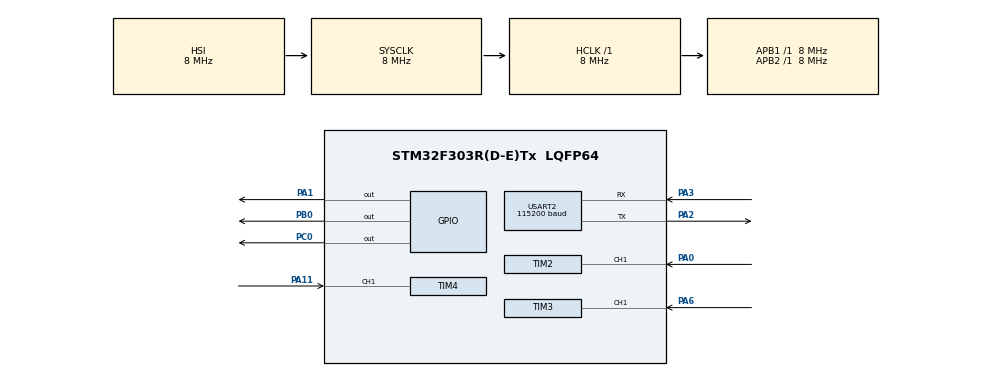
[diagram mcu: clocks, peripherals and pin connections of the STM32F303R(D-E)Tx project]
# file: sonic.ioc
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Mcu.Family=STM32F3
Mcu.Name=STM32F303R(D-E)Tx
Mcu.Package=LQFP64
NVIC.PriorityGroup=NVIC_PRIORITYGROUP_4
NVIC.TIM1_UP_TIM16_IRQn=true\:0\:0\:false\:false\:true\:true
NVIC.TIM2_IRQn=true\:0\:0\:false\:false\:true\:true
NVIC.TIM3_IRQn=true\:0\:0\:false\:false\:true\:true
NVIC.TIM4_IRQn=true\:0\:0\:false\:false\:true\:true
PA0.Signal=S_TIM2_CH1_ETR
PA1.Signal=GPIO_Output
PA11.Signal=S_TIM4_CH1
PA2.Mode=Asynchronous
PA2.Signal=USART2_TX
PA3.Mode=Asynchronous
PA3.Signal=USART2_RX
PA6.Signal=S_TIM3_CH1
PB0.Signal=GPIO_Output
PC0.Signal=GPIO_Output
ProjectManager.HeapSize=0x200
ProjectManager.StackSize=0x400
ProjectManager.TargetToolchain=TrueSTUDIO
RCC.AHBFreq_Value=8000000
RCC.APB1Freq_Value=8000000
RCC.APB2Freq_Value=8000000
RCC.CortexFreq_Value=8000000
RCC.HSE_VALUE=8000000
RCC.HSI_VALUE=8000000
RCC.LSE_VALUE=32768
RCC.SYSCLKFreq_VALUE=8000000
RCC.USBFreq_Value=16000000
SH.S_TIM2_CH1_ETR.0=TIM2_CH1,Input_Capture1_from_TI1
SH.S_TIM3_CH1.0=TIM3_CH1,Input_Capture1_from_TI1
SH.S_TIM4_CH1.0=TIM4_CH1,Input_Capture1_from_TI1
TIM1.Period=10
TIM1.Prescaler=7
TIM2.Channel-Input_Capture1_from_TI1=TIM_CHANNEL_1
TIM2.ICPolarity_CH1=TIM_INPUTCHANNELPOLARITY_BOTHEDGE
TIM2.Period=0xffffffff
TIM2.Prescaler=7
TIM3.Channel-Input_Capture1_from_TI1=TIM_CHANNEL_1
TIM3.ICPolarity_CH1=TIM_INPUTCHANNELPOLARITY_BOTHEDGE
TIM3.Period=0xffff
TIM3.Prescaler=7
TIM4.Channel-Input_Capture1_from_TI1=TIM_CHANNEL_1
TIM4.ICPolarity_CH1=TIM_INPUTCHANNELPOLARITY_BOTHEDGE
TIM4.Period=0xffff
TIM4.Prescaler=7
USART2.BaudRate=115200
USART2.VirtualMode-Asynchronous=VM_ASYNC
VP_TIM1_VS_ClockSourceINT.Mode=Internal
board=custom

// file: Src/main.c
/**
  ******************************************************************************
  * @file           : main.c
  * @brief          : Main program body
  ******************************************************************************
  ** This notice applies to any and all portions of this file
  * that are not between comment pairs USER CODE BEGIN and
  * USER CODE END. Other portions of this file, whether
  * inserted by the user or by software development tools
  * are owned by their respective copyright owners.
  *
  * COPYRIGHT(c) 2018 STMicroelectronics
  *
  * Redistribution and use in source and binary forms, with or without modification,
  * are permitted provided that the following conditions are met:
  *   1. Redistributions of source code must retain the above copyright notice,
  *      this list of conditions and the following disclaimer.
  *   2. Redistributions in binary form must reproduce the above copyright notice,
  *      this list of conditions and the following disclaimer in the documentation
  *      and/or other materials provided with the distribution.
  *   3. Neither the name of STMicroelectronics nor the names of its contributors
  *      may be used to endorse or promote products derived from this software
  *      without specific prior written permission.
  *
  * THIS SOFTWARE IS PROVIDED BY THE COPYRIGHT HOLDERS AND CONTRIBUTORS "AS IS"
  * AND ANY EXPRESS OR IMPLIED WARRANTIES, INCLUDING, BUT NOT LIMITED TO, THE
  * IMPLIED WARRANTIES OF MERCHANTABILITY AND FITNESS FOR A PARTICULAR PURPOSE ARE
  * DISCLAIMED. IN NO EVENT SHALL THE COPYRIGHT HOLDER OR CONTRIBUTORS BE LIABLE
  * FOR ANY DIRECT, INDIRECT, INCIDENTAL, SPECIAL, EXEMPLARY, OR CONSEQUENTIAL
  * DAMAGES (INCLUDING, BUT NOT LIMITED TO, PROCUREMENT OF SUBSTITUTE GOODS OR
  * SERVICES; LOSS OF USE, DATA, OR PROFITS; OR BUSINESS INTERRUPTION) HOWEVER
  * CAUSED AND ON ANY THEORY OF LIABILITY, WHETHER IN CONTRACT, STRICT LIABILITY,
  * OR TORT (INCLUDING NEGLIGENCE OR OTHERWISE) ARISING IN ANY WAY OUT OF THE USE
  * OF THIS SOFTWARE, EVEN IF ADVISED OF THE POSSIBILITY OF SUCH DAMAGE.
  *
  ******************************************************************************
  */
#include "main.h"
#include "stm32f3xx_hal.h"

TIM_HandleTypeDef htim1;
TIM_HandleTypeDef htim2;
TIM_HandleTypeDef htim3;
TIM_HandleTypeDef htim4;

UART_HandleTypeDef huart2;

/* USER CODE BEGIN PV */
/* Private variables ---------------------------------------------------------*/

/* USER CODE END PV */

void SystemClock_Config(void);
static void MX_GPIO_Init(void);
static void MX_USART2_UART_Init(void);
static void MX_TIM1_Init(void);
static void MX_TIM2_Init(void);
static void MX_TIM3_Init(void);
static void MX_TIM4_Init(void);

/* USER CODE BEGIN PFP */
/* Private function prototypes -----------------------------------------------*/

/* USER CODE END PFP */

/* USER CODE BEGIN 0 */
int mode = 0;
void HAL_TIM_IC_CaptureCallback(TIM_HandleTypeDef* htim) {
	if (htim->Instance == TIM2) {
		if (HAL_GPIO_ReadPin(GPIOA, GPIO_PIN_0) == 1) {
			__HAL_TIM_SET_COUNTER(&htim2, 0);

		} else {
			int cnt = __HAL_TIM_GET_COUNTER(&htim2);
			double distance = cnt / (double) 58;
			int integer = (int) distance;
			int point = (int) ((distance - integer) * 100);
			char tosend[20] = { 0 };
			sprintf(tosend, "%s: %d.%02d\r\n", "sonic1", integer, point);
			HAL_UART_Transmit(&huart2, tosend, sizeof(tosend), 0xffff);
			HAL_TIM_Base_Start_IT(&htim1);

		}
	}

	if (htim->Instance == TIM3) {
		if (HAL_GPIO_ReadPin(GPIOA, GPIO_PIN_6) == 1) {
			__HAL_TIM_SET_COUNTER(&htim3, 0);
		} else {

			int cnt2 = __HAL_TIM_GET_COUNTER(&htim3);
			double distance2 = cnt2 / (double) 58;
			int integer2 = (int) distance2;
			int point2 = (int) ((distance2 - integer2) * 100);
			char tosend2[20] = { 0 };
			sprintf(tosend2, "%s: %d.%02d\r\n", "sonic2", integer2, point2);
			HAL_UART_Transmit(&huart2, tosend2, sizeof(tosend2), 0xffff);
			HAL_TIM_Base_Start_IT(&htim1);
		}
	}

}

int tim1Count = 7000;
void HAL_TIM_PeriodElapsedCallback(TIM_HandleTypeDef *htim) {
	mode = mode % 2;
	if (htim->Instance == TIM1) {
		switch(mode){
		case 0:
			if (tim1Count < 7000) {
				tim1Count++;
			} else {

				HAL_TIM_Base_Stop_IT(&htim1);

				if (HAL_GPIO_ReadPin(GPIOA, GPIO_PIN_1) == 0) {
					HAL_GPIO_WritePin(GPIOA, GPIO_PIN_1, 1);
					HAL_TIM_Base_Start_IT(&htim1);
				} else {
					tim1Count = 0;
					HAL_GPIO_WritePin(GPIOA, GPIO_PIN_1, 0);
					mode += 1;
				}

			}
			break;
		case 1:
			if (tim1Count < 7000) {
						tim1Count++;
					} else {
						HAL_TIM_Base_Stop_IT(&htim1);

						if (HAL_GPIO_ReadPin(GPIOC, GPIO_PIN_0) == 0) {
							HAL_GPIO_WritePin(GPIOC, GPIO_PIN_0, 1);
							HAL_TIM_Base_Start_IT(&htim1);
						} else {
							tim1Count = 0;
							HAL_GPIO_WritePin(GPIOC, GPIO_PIN_0, 0);
							mode += 1;
						}

					}
			break;
		}

	}

}

/* USER CODE END 0 */

int main(void)
{

  /* MCU Configuration----------------------------------------------------------*/

  /* Reset of all peripherals, Initializes the Flash interface and the Systick. */
  HAL_Init();

  /* Configure the system clock */
  SystemClock_Config();

  /* Initialize all configured peripherals */
  MX_GPIO_Init();
  MX_USART2_UART_Init();
  MX_TIM1_Init();
  MX_TIM2_Init();
  MX_TIM3_Init();
  MX_TIM4_Init();
  /* USER CODE BEGIN 2 */
  HAL_TIM_IC_Start_IT(&htim2, TIM_CHANNEL_1);
  HAL_TIM_IC_Start_IT(&htim3, TIM_CHANNEL_1);
  HAL_TIM_IC_Start_IT(&htim4, TIM_CHANNEL_1);
  HAL_TIM_Base_Start_IT(&htim1);
  /* USER CODE END 2 */

  /* Infinite loop */
	while (1) {

	}

}

void SystemClock_Config(void)
{

  RCC_OscInitTypeDef RCC_OscInitStruct;
  RCC_ClkInitTypeDef RCC_ClkInitStruct;
  RCC_PeriphCLKInitTypeDef PeriphClkInit;

    /**Initializes the CPU, AHB and APB busses clocks
    */
  RCC_OscInitStruct.OscillatorType = RCC_OSCILLATORTYPE_HSI;
  RCC_OscInitStruct.HSIState = RCC_HSI_ON;
  RCC_OscInitStruct.HSICalibrationValue = 16;
  RCC_OscInitStruct.PLL.PLLState = RCC_PLL_NONE;
  if (HAL_RCC_OscConfig(&RCC_OscInitStruct) != HAL_OK)
  {
    _Error_Handler(__FILE__, __LINE__);
  }

    /**Initializes the CPU, AHB and APB busses clocks
    */
  RCC_ClkInitStruct.ClockType = RCC_CLOCKTYPE_HCLK|RCC_CLOCKTYPE_SYSCLK
                              |RCC_CLOCKTYPE_PCLK1|RCC_CLOCKTYPE_PCLK2;
  RCC_ClkInitStruct.SYSCLKSource = RCC_SYSCLKSOURCE_HSI;
  RCC_ClkInitStruct.AHBCLKDivider = RCC_SYSCLK_DIV1;
  RCC_ClkInitStruct.APB1CLKDivider = RCC_HCLK_DIV1;
  RCC_ClkInitStruct.APB2CLKDivider = RCC_HCLK_DIV1;

  if (HAL_RCC_ClockConfig(&RCC_ClkInitStruct, FLASH_LATENCY_0) != HAL_OK)
  {
    _Error_Handler(__FILE__, __LINE__);
  }

  PeriphClkInit.PeriphClockSelection = RCC_PERIPHCLK_USART2|RCC_PERIPHCLK_TIM1
                              |RCC_PERIPHCLK_TIM2|RCC_PERIPHCLK_TIM34;
  PeriphClkInit.Usart2ClockSelection = RCC_USART2CLKSOURCE_PCLK1;
  PeriphClkInit.Tim1ClockSelection = RCC_TIM1CLK_HCLK;
  PeriphClkInit.Tim2ClockSelection = RCC_TIM2CLK_HCLK;
  PeriphClkInit.Tim34ClockSelection = RCC_TIM34CLK_HCLK;
  if (HAL_RCCEx_PeriphCLKConfig(&PeriphClkInit) != HAL_OK)
  {
    _Error_Handler(__FILE__, __LINE__);
  }

    /**Configure the Systick interrupt time
    */
  HAL_SYSTICK_Config(HAL_RCC_GetHCLKFreq()/1000);

    /**Configure the Systick
    */
  HAL_SYSTICK_CLKSourceConfig(SYSTICK_CLKSOURCE_HCLK);

  /* SysTick_IRQn interrupt configuration */
  HAL_NVIC_SetPriority(SysTick_IRQn, 0, 0);
}

/* TIM1 init function */
static void MX_TIM1_Init(void)
{

  TIM_ClockConfigTypeDef sClockSourceConfig;
  TIM_MasterConfigTypeDef sMasterConfig;

  htim1.Instance = TIM1;
  htim1.Init.Prescaler = 7;
  htim1.Init.CounterMode = TIM_COUNTERMODE_UP;
  htim1.Init.Period = 10;
  htim1.Init.ClockDivision = TIM_CLOCKDIVISION_DIV1;
  htim1.Init.RepetitionCounter = 0;
  htim1.Init.AutoReloadPreload = TIM_AUTORELOAD_PRELOAD_DISABLE;
  if (HAL_TIM_Base_Init(&htim1) != HAL_OK)
  {
    _Error_Handler(__FILE__, __LINE__);
  }

  sClockSourceConfig.ClockSource = TIM_CLOCKSOURCE_INTERNAL;
  if (HAL_TIM_ConfigClockSource(&htim1, &sClockSourceConfig) != HAL_OK)
  {
    _Error_Handler(__FILE__, __LINE__);
  }

  sMasterConfig.MasterOutputTrigger = TIM_TRGO_RESET;
  sMasterConfig.MasterOutputTrigger2 = TIM_TRGO2_RESET;
  sMasterConfig.MasterSlaveMode = TIM_MASTERSLAVEMODE_DISABLE;
  if (HAL_TIMEx_MasterConfigSynchronization(&htim1, &sMasterConfig) != HAL_OK)
  {
    _Error_Handler(__FILE__, __LINE__);
  }

}

/* TIM2 init function */
static void MX_TIM2_Init(void)
{

  TIM_MasterConfigTypeDef sMasterConfig;
  TIM_IC_InitTypeDef sConfigIC;

  htim2.Instance = TIM2;
  htim2.Init.Prescaler = 7;
  htim2.Init.CounterMode = TIM_COUNTERMODE_UP;
  htim2.Init.Period = 0xffffffff;
  htim2.Init.ClockDivision = TIM_CLOCKDIVISION_DIV1;
  htim2.Init.AutoReloadPreload = TIM_AUTORELOAD_PRELOAD_DISABLE;
  if (HAL_TIM_IC_Init(&htim2) != HAL_OK)
  {
    _Error_Handler(__FILE__, __LINE__);
  }

  sMasterConfig.MasterOutputTrigger = TIM_TRGO_RESET;
  sMasterConfig.MasterSlaveMode = TIM_MASTERSLAVEMODE_DISABLE;
  if (HAL_TIMEx_MasterConfigSynchronization(&htim2, &sMasterConfig) != HAL_OK)
  {
    _Error_Handler(__FILE__, __LINE__);
  }

  sConfigIC.ICPolarity = TIM_INPUTCHANNELPOLARITY_BOTHEDGE;
  sConfigIC.ICSelection = TIM_ICSELECTION_DIRECTTI;
  sConfigIC.ICPrescaler = TIM_ICPSC_DIV1;
  sConfigIC.ICFilter = 0;
  if (HAL_TIM_IC_ConfigChannel(&htim2, &sConfigIC, TIM_CHANNEL_1) != HAL_OK)
  {
    _Error_Handler(__FILE__, __LINE__);
  }

}

/* TIM3 init function */
static void MX_TIM3_Init(void)
{

  TIM_MasterConfigTypeDef sMasterConfig;
  TIM_IC_InitTypeDef sConfigIC;

  htim3.Instance = TIM3;
  htim3.Init.Prescaler = 7;
  htim3.Init.CounterMode = TIM_COUNTERMODE_UP;
  htim3.Init.Period = 0xffff;
  htim3.Init.ClockDivision = TIM_CLOCKDIVISION_DIV1;
  htim3.Init.AutoReloadPreload = TIM_AUTORELOAD_PRELOAD_DISABLE;
  if (HAL_TIM_IC_Init(&htim3) != HAL_OK)
  {
    _Error_Handler(__FILE__, __LINE__);
  }

  sMasterConfig.MasterOutputTrigger = TIM_TRGO_RESET;
  sMasterConfig.MasterSlaveMode = TIM_MASTERSLAVEMODE_DISABLE;
  if (HAL_TIMEx_MasterConfigSynchronization(&htim3, &sMasterConfig) != HAL_OK)
  {
    _Error_Handler(__FILE__, __LINE__);
  }

  sConfigIC.ICPolarity = TIM_INPUTCHANNELPOLARITY_BOTHEDGE;
  sConfigIC.ICSelection = TIM_ICSELECTION_DIRECTTI;
  sConfigIC.ICPrescaler = TIM_ICPSC_DIV1;
  sConfigIC.ICFilter = 0;
  if (HAL_TIM_IC_ConfigChannel(&htim3, &sConfigIC, TIM_CHANNEL_1) != HAL_OK)
  {
    _Error_Handler(__FILE__, __LINE__);
  }

}

/* TIM4 init function */
static void MX_TIM4_Init(void)
{

  TIM_MasterConfigTypeDef sMasterConfig;
  TIM_IC_InitTypeDef sConfigIC;

  htim4.Instance = TIM4;
  htim4.Init.Prescaler = 7;
  htim4.Init.CounterMode = TIM_COUNTERMODE_UP;
  htim4.Init.Period = 0xffff;
  htim4.Init.ClockDivision = TIM_CLOCKDIVISION_DIV1;
  htim4.Init.AutoReloadPreload = TIM_AUTORELOAD_PRELOAD_DISABLE;
  if (HAL_TIM_IC_Init(&htim4) != HAL_OK)
  {
    _Error_Handler(__FILE__, __LINE__);
  }

  sMasterConfig.MasterOutputTrigger = TIM_TRGO_RESET;
  sMasterConfig.MasterSlaveMode = TIM_MASTERSLAVEMODE_DISABLE;
  if (HAL_TIMEx_MasterConfigSynchronization(&htim4, &sMasterConfig) != HAL_OK)
  {
    _Error_Handler(__FILE__, __LINE__);
  }

  sConfigIC.ICPolarity = TIM_INPUTCHANNELPOLARITY_BOTHEDGE;
  sConfigIC.ICSelection = TIM_ICSELECTION_DIRECTTI;
  sConfigIC.ICPrescaler = TIM_ICPSC_DIV1;
  sConfigIC.ICFilter = 0;
  if (HAL_TIM_IC_ConfigChannel(&htim4, &sConfigIC, TIM_CHANNEL_1) != HAL_OK)
  {
    _Error_Handler(__FILE__, __LINE__);
  }

}

/* USART2 init function */
static void MX_USART2_UART_Init(void)
{

  huart2.Instance = USART2;
  huart2.Init.BaudRate = 115200;
  huart2.Init.WordLength = UART_WORDLENGTH_8B;
  huart2.Init.StopBits = UART_STOPBITS_1;
  huart2.Init.Parity = UART_PARITY_NONE;
  huart2.Init.Mode = UART_MODE_TX_RX;
  huart2.Init.HwFlowCtl = UART_HWCONTROL_NONE;
  huart2.Init.OverSampling = UART_OVERSAMPLING_16;
  huart2.Init.OneBitSampling = UART_ONE_BIT_SAMPLE_DISABLE;
  huart2.AdvancedInit.AdvFeatureInit = UART_ADVFEATURE_NO_INIT;
  if (HAL_UART_Init(&huart2) != HAL_OK)
  {
    _Error_Handler(__FILE__, __LINE__);
  }

}

/** Configure pins as
        * Analog
        * Input
        * Output
        * EVENT_OUT
        * EXTI
*/
static void MX_GPIO_Init(void)
{

  GPIO_InitTypeDef GPIO_InitStruct;

  /* GPIO Ports Clock Enable */
  __HAL_RCC_GPIOC_CLK_ENABLE();
  __HAL_RCC_GPIOA_CLK_ENABLE();
  __HAL_RCC_GPIOB_CLK_ENABLE();

  /*Configure GPIO pin Output Level */
  HAL_GPIO_WritePin(GPIOC, GPIO_PIN_0, GPIO_PIN_RESET);

  /*Configure GPIO pin Output Level */
  HAL_GPIO_WritePin(GPIOA, GPIO_PIN_1, GPIO_PIN_RESET);

  /*Configure GPIO pin Output Level */
  HAL_GPIO_WritePin(GPIOB, GPIO_PIN_0, GPIO_PIN_RESET);

  /*Configure GPIO pin : PC0 */
  GPIO_InitStruct.Pin = GPIO_PIN_0;
  GPIO_InitStruct.Mode = GPIO_MODE_OUTPUT_PP;
  GPIO_InitStruct.Pull = GPIO_NOPULL;
  GPIO_InitStruct.Speed = GPIO_SPEED_FREQ_LOW;
  HAL_GPIO_Init(GPIOC, &GPIO_InitStruct);

  /*Configure GPIO pin : PA1 */
  GPIO_InitStruct.Pin = GPIO_PIN_1;
  GPIO_InitStruct.Mode = GPIO_MODE_OUTPUT_PP;
  GPIO_InitStruct.Pull = GPIO_NOPULL;
  GPIO_InitStruct.Speed = GPIO_SPEED_FREQ_LOW;
  HAL_GPIO_Init(GPIOA, &GPIO_InitStruct);

  /*Configure GPIO pin : PB0 */
  GPIO_InitStruct.Pin = GPIO_PIN_0;
  GPIO_InitStruct.Mode = GPIO_MODE_OUTPUT_PP;
  GPIO_InitStruct.Pull = GPIO_NOPULL;
  GPIO_InitStruct.Speed = GPIO_SPEED_FREQ_LOW;
  HAL_GPIO_Init(GPIOB, &GPIO_InitStruct);

}

void _Error_Handler(char *file, int line)
{
	while (1) {
	}
}

/************************ (C) COPYRIGHT STMicroelectronics *****END OF FILE****/
